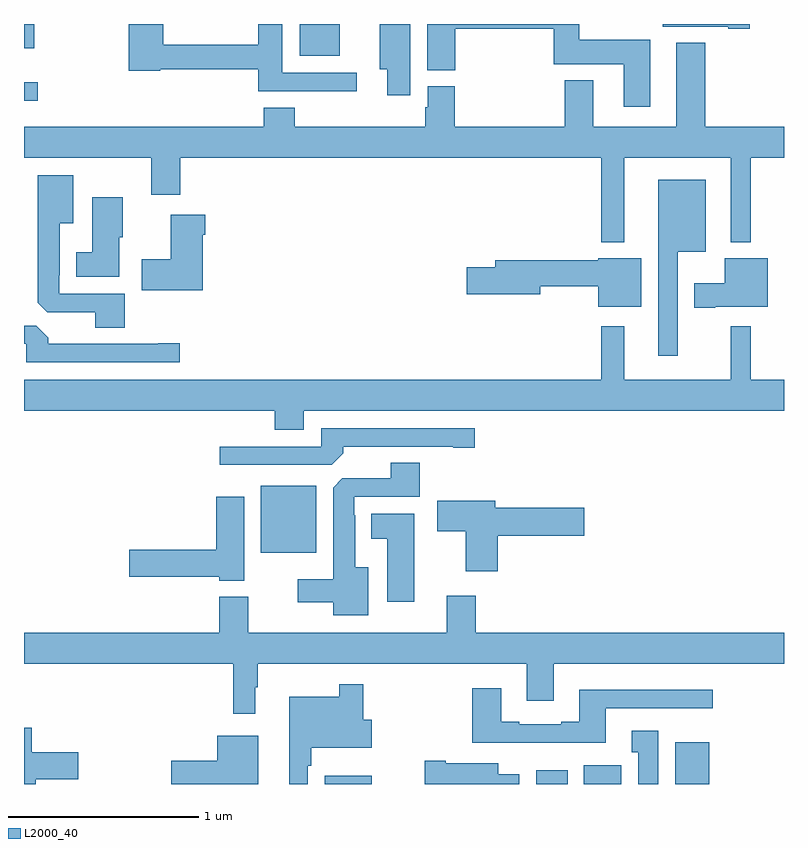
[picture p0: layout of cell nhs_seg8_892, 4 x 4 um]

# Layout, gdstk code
import gdstk
lib = gdstk.Library(unit=1e-6, precision=1e-09)
def R(c, l, rs):  # rectangles x0, y0, x1, y1
    for r in rs: c.add(gdstk.rectangle(r[:2], r[2:], *l))
def P(c, l, *ps):  # polygons
    for p in ps: c.add(gdstk.Polygon(p, *l))
L2000_40 = (2000, 40)

nhs_seg8_892 = lib.new_cell('nhs_seg8_892')
R(nhs_seg8_892, L2000_40, [(170.582,1083.9,170.831,1083.943), (171.695,1083.9,171.862,1083.973), (171.947,1083.9,172.144,1084), (172.427,1083.9,172.606,1084.12), (170.246,1085.117,170.539,1085.47), (169,1087.496,169.072,1087.593), (170.45,1087.733,170.662,1087.9), (169,1087.772,169.054,1087.9)])
P(nhs_seg8_892, L2000_40, [(172.297,1087.816),(171.922,1087.816),(171.922,1087.9),(171.122,1087.9),(171.122,1087.657),(171.269,1087.657),(171.269,1087.876),(171.788,1087.876),(171.788,1087.688),(172.157,1087.688),(172.157,1087.464),(172.297,1087.464)],
  [(170.752,1087.644),(170.359,1087.644),(170.359,1087.9),(170.234,1087.9),(170.234,1087.79),(169.733,1087.79),(169.733,1087.9),(169.55,1087.9),(169.55,1087.654),(169.716,1087.654),(169.716,1087.662),(170.234,1087.662),(170.234,1087.547),(170.752,1087.547)],
  [(171.034,1087.9),(170.873,1087.9),(170.873,1087.661),(170.912,1087.661),(170.912,1087.524),(171.034,1087.524)],
  [(172.819,1087.9),(172.361,1087.9),(172.361,1087.886),(172.706,1087.886),(172.706,1087.874),(172.819,1087.874)],
  [(172.159,1087.196),(172.721,1087.196),(172.721,1086.752),(172.825,1086.752),(172.825,1087.196),(173,1087.196),(173,1087.36),(172.586,1087.36),(172.586,1087.801),(172.433,1087.801),(172.433,1087.36),(171.997,1087.36),(171.997,1087.603),(171.845,1087.603),(171.845,1087.36),(171.266,1087.36),(171.266,1087.572),(171.125,1087.572),(171.125,1087.461),(171.113,1087.461),(171.113,1087.36),(170.426,1087.36),(170.426,1087.459),(170.261,1087.459),(170.261,1087.36),(169,1087.36),(169,1087.196),(169.67,1087.196),(169.67,1087.002),(169.823,1087.002),(169.823,1087.196),(172.038,1087.196),(172.038,1086.752),(172.159,1086.752)],
  [(169.529,1086.48),(169.185,1086.48),(169.185,1086.577),(169.189,1086.577),(169.189,1086.851),(169.258,1086.851),(169.258,1087.105),(169.073,1087.105),(169.073,1086.433),(169.122,1086.384),(169.376,1086.384),(169.376,1086.301),(169.529,1086.301)],
  [(172.441,1086.701),(172.588,1086.701),(172.588,1087.081),(172.337,1087.081),(172.337,1086.153),(172.441,1086.153)],
  [(169.501,1086.777),(169.519,1086.777),(169.519,1086.988),(169.358,1086.988),(169.358,1086.7),(169.274,1086.7),(169.274,1086.569),(169.501,1086.569)],
  [(169.942,1086.791),(169.955,1086.791),(169.955,1086.895),(169.772,1086.895),(169.772,1086.663),(169.62,1086.663),(169.62,1086.5),(169.942,1086.5)],
  [(172.249,1086.667),(172.022,1086.667),(172.022,1086.656),(171.479,1086.656),(171.479,1086.62),(171.33,1086.62),(171.33,1086.478),(171.718,1086.478),(171.718,1086.52),(172.022,1086.52),(172.022,1086.413),(172.249,1086.413)],
  [(172.639,1086.413),(172.915,1086.413),(172.915,1086.667),(172.688,1086.667),(172.688,1086.535),(172.527,1086.535),(172.527,1086.406),(172.639,1086.406)],
  [(169.819,1086.221),(169.706,1086.221),(169.706,1086.216),(169.127,1086.216),(169.127,1086.25),(169.065,1086.312),(169,1086.312),(169,1086.216),(169.011,1086.216),(169.011,1086.12),(169.819,1086.12)],
  [(170.473,1085.864),(173,1085.864),(173,1086.028),(172.825,1086.028),(172.825,1086.31),(172.719,1086.31),(172.719,1086.028),(172.159,1086.028),(172.159,1086.31),(172.038,1086.31),(172.038,1086.028),(169,1086.028),(169,1085.864),(170.321,1085.864),(170.321,1085.765),(170.473,1085.765)],
  [(170.681,1085.642),(170.681,1085.676),(171.26,1085.676),(171.26,1085.671),(171.373,1085.671),(171.373,1085.772),(170.565,1085.772),(170.565,1085.676),(170.031,1085.676),(170.031,1085.58),(170.619,1085.58)],
  [(170.812,1085.041),(170.743,1085.041),(170.743,1085.315),(170.739,1085.315),(170.739,1085.412),(171.083,1085.412),(171.083,1085.591),(170.93,1085.591),(170.93,1085.508),(170.676,1085.508),(170.627,1085.459),(170.627,1084.978),(170.442,1084.978),(170.442,1084.856),(170.627,1084.856),(170.627,1084.787),(170.812,1084.787)],
  [(170.158,1085.413),(170.012,1085.413),(170.012,1085.132),(169.554,1085.132),(169.554,1084.99),(170.028,1084.99),(170.028,1084.97),(170.158,1084.97)],
  [(171.494,1085.207),(171.949,1085.207),(171.949,1085.354),(171.481,1085.354),(171.481,1085.392),(171.174,1085.392),(171.174,1085.23),(171.326,1085.23),(171.326,1085.019),(171.494,1085.019)],
  [(171.055,1085.323),(170.828,1085.323),(170.828,1085.192),(170.912,1085.192),(170.912,1084.86),(171.055,1084.86)],
  [(170.218,1084.409),(170.23,1084.409),(170.23,1084.532),(171.647,1084.532),(171.647,1084.338),(171.787,1084.338),(171.787,1084.532),(173,1084.532),(173,1084.696),(171.377,1084.696),(171.377,1084.891),(171.224,1084.891),(171.224,1084.696),(170.179,1084.696),(170.179,1084.885),(170.027,1084.885),(170.027,1084.696),(169,1084.696),(169,1084.532),(170.101,1084.532),(170.101,1084.269),(170.218,1084.269)],
  [(170.493,1083.995),(170.513,1083.995),(170.513,1084.091),(170.83,1084.091),(170.83,1084.239),(170.786,1084.239),(170.786,1084.426),(170.658,1084.426),(170.658,1084.36),(170.396,1084.36),(170.396,1083.9),(170.493,1083.9)],
  [(172.063,1084.299),(172.624,1084.299),(172.624,1084.396),(171.923,1084.396),(171.923,1084.228),(171.827,1084.228),(171.827,1084.215),(171.607,1084.215),(171.607,1084.228),(171.511,1084.228),(171.511,1084.405),(171.359,1084.405),(171.359,1084.118),(172.063,1084.118)],
  [(169.061,1083.926),(169.285,1083.926),(169.285,1084.068),(169.042,1084.068),(169.042,1084.195),(169,1084.195),(169,1083.9),(169.061,1083.9)],
  [(172.339,1084.18),(172.199,1084.18),(172.199,1084.067),(172.232,1084.067),(172.232,1083.9),(172.339,1083.9)],
  [(170.233,1084.153),(170.018,1084.153),(170.018,1084.022),(169.776,1084.022),(169.776,1083.9),(170.233,1083.9)],
  [(171.607,1083.952),(171.496,1083.952),(171.496,1084.009),(171.22,1084.009),(171.22,1084.022),(171.108,1084.022),(171.108,1083.9),(171.607,1083.9)])

lib.write_gds('nhs_seg8_892.gds')
